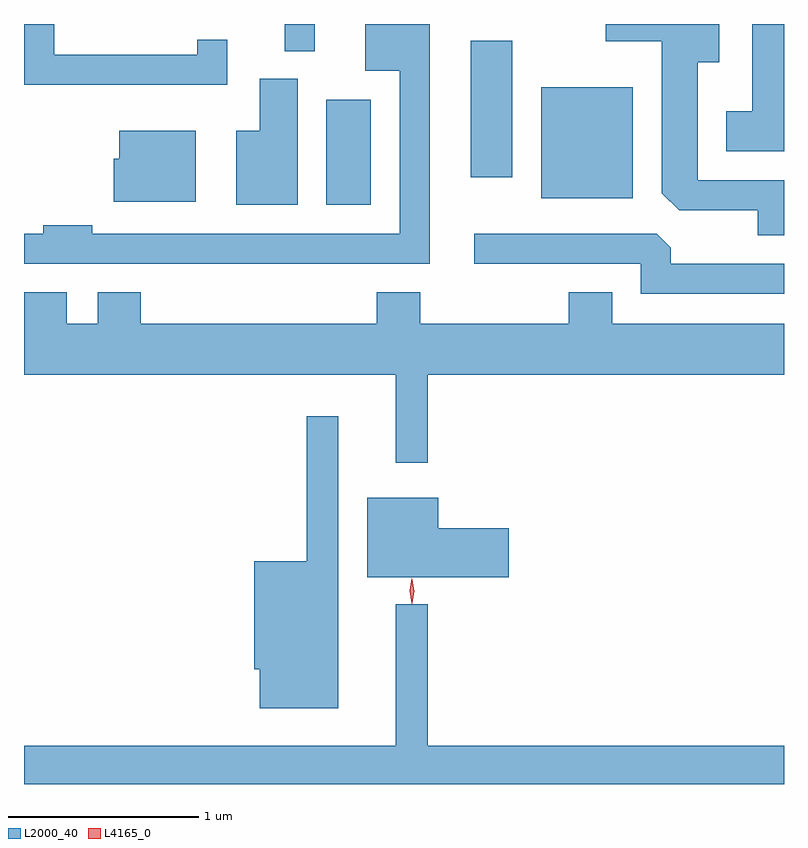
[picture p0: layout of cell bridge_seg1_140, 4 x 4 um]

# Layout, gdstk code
import gdstk
lib = gdstk.Library(unit=1e-6, precision=1e-09)
def R(c, l, rs):  # rectangles x0, y0, x1, y1
    for r in rs: c.add(gdstk.rectangle(r[:2], r[2:], *l))
def P(c, l, *ps):  # polygons
    for p in ps: c.add(gdstk.Polygon(p, *l))
L2000_40 = (2000, 40)
L4165_0 = (4165, 0)

bridge_seg1_140 = lib.new_cell('bridge_seg1_140')
R(bridge_seg1_140, L2000_40, [(964.526,975.951,964.759,976.504), (965.656,975.986,966.139,976.569), (965.286,976.096,965.504,976.814), (964.306,976.758,964.464,976.902)])
P(bridge_seg1_140, L2000_40, [(966.934,976.079),(966.479,976.079),(966.479,976.701),(966.594,976.701),(966.594,976.902),(965.996,976.902),(965.996,976.811),(966.291,976.811),(966.291,976.012),(966.382,975.921),(966.796,975.921),(966.796,975.791),(966.934,975.791)],
  [(964.004,976.818),(963.846,976.818),(963.846,976.739),(963.094,976.739),(963.094,976.902),(962.936,976.902),(962.936,976.739),(962.934,976.739),(962.934,976.581),(964.004,976.581)],
  [(966.934,976.902),(966.766,976.902),(966.766,976.444),(966.631,976.444),(966.631,976.231),(966.934,976.231)],
  [(965.069,976.902),(964.731,976.902),(964.731,976.656),(964.911,976.656),(964.911,975.799),(963.294,975.799),(963.294,975.844),(963.036,975.844),(963.036,975.799),(962.934,975.799),(962.934,975.641),(965.069,975.641)],
  [(964.374,976.614),(964.176,976.614),(964.176,976.339),(964.051,976.339),(964.051,975.951),(964.374,975.951)],
  [(963.839,976.339),(963.436,976.339),(963.436,976.194),(963.406,976.194),(963.406,975.966),(963.839,975.966)],
  [(966.934,975.639),(966.339,975.639),(966.339,975.724),(966.264,975.799),(965.303,975.799),(965.303,975.641),(966.181,975.641),(966.181,975.481),(966.934,975.481)],
  [(965.059,975.056),(966.934,975.056),(966.934,975.324),(966.029,975.324),(966.029,975.489),(965.801,975.489),(965.801,975.324),(965.019,975.324),(965.019,975.489),(964.791,975.489),(964.791,975.324),(963.549,975.324),(963.549,975.489),(963.321,975.489),(963.321,975.324),(963.159,975.324),(963.159,975.489),(962.934,975.489),(962.934,975.056),(964.891,975.056),(964.891,974.593),(965.059,974.593)],
  [(964.589,974.838),(964.421,974.838),(964.421,974.074),(964.146,974.074),(964.146,973.506),(964.176,973.506),(964.176,973.301),(964.589,973.301)],
  [(965.484,974.249),(965.114,974.249),(965.114,974.409),(964.741,974.409),(964.741,973.991),(965.484,973.991)],
  [(966.934,973.104),(965.059,973.104),(965.059,973.848),(964.891,973.848),(964.891,973.104),(962.934,973.104),(962.934,972.902),(966.934,972.902)])
P(bridge_seg1_140, L4165_0, [(964.974,973.85),(964.974,973.85),(964.964,973.918),(964.974,973.986),(964.974,973.986),(964.975,973.986),(964.984,973.918),(964.975,973.85)],
  [(964.977,973.853),(964.976,973.854),(964.967,973.916),(964.976,973.979),(964.977,973.98),(964.977,973.979),(964.987,973.916),(964.977,973.854)])

lib.write_gds('bridge_seg1_140.gds')
